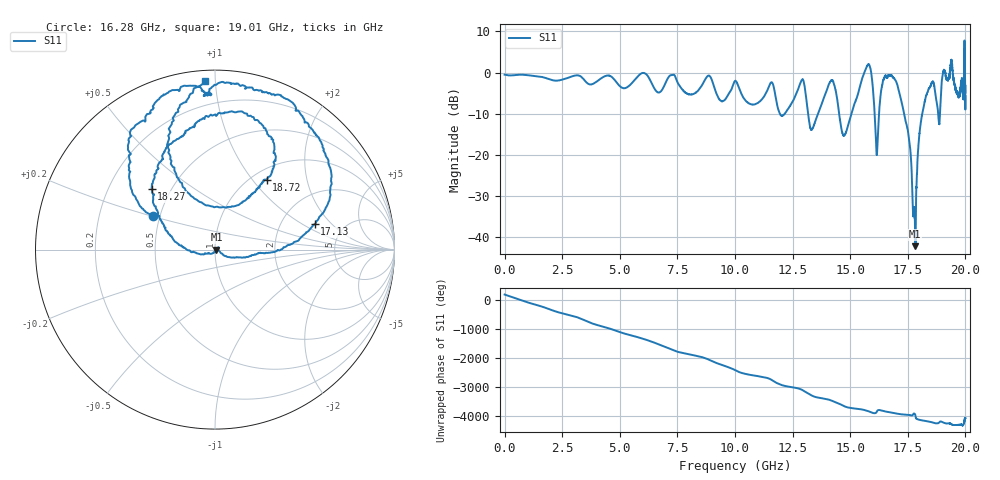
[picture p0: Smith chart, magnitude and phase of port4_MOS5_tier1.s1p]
! Created with skrf 1.8.0 (http://scikit-rf.org).
# GHz S RI R 50.0
!freq ReS11 ImS11
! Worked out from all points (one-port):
!   10001 points, 1 MHz to 20 GHz, reference 50 ohm
!   lowest |S11| = -42.1 dB at 17.82 GHz (marker M1), VSWR 1.02, Z = 50.8 - j0.0283 ohm
!   |S11| at or under -10 dB: 13.17 GHz to 13.61 GHz (432.6 MHz wide, 3.23 % of centre); 14.52 GHz to 15.05 GHz (533.9 MHz wide, 3.61 % of centre); 17.34 GHz to 18.13 GHz (788.8 MHz wide, 4.45 % of centre) (the widest 3 of 6)
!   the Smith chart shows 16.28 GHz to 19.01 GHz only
!   S11 on the Smith chart (normalised r, x): 16.28 GHz: 0.46, +0.20; 17.13 GHz: 3.08, +1.31; 18.27 GHz: 0.39, +0.35; 18.72 GHz: 1.17, +1.18; 19.01 GHz: 0.06, +0.94
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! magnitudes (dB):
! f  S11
! 1 MHz  -0.5
! 2.501 GHz  -1.7
! 5.001 GHz  -3.3
! 7.501 GHz  -2.3
! 8.877 GHz  -0.8
! 9.445 GHz  -7.0
! 10 GHz  -2.0
! 12.03 GHz  -10.5
! 12.5 GHz  -7.1
! 12.94 GHz  -1.7
! 13.35 GHz  -13.7
! 14.2 GHz  -1.9
! 14.69 GHz  -15.2
! 15 GHz  -11.1
! 15.77 GHz  1.8
! 16.13 GHz  -18.4
! 16.28 GHz  -8.1
! 16.56 GHz  -0.9
! 17.13 GHz  -4.8
! 17.5 GHz  -14.0
! 17.75 GHz  -34.2
! 17.82 GHz  -42.1
! 18.02 GHz  -14.5
! 18.27 GHz  -6.2
! 18.72 GHz  -6.3
! 18.85 GHz  -12.1
! 19.01 GHz  -0.5
! 20 GHz  -5.7
